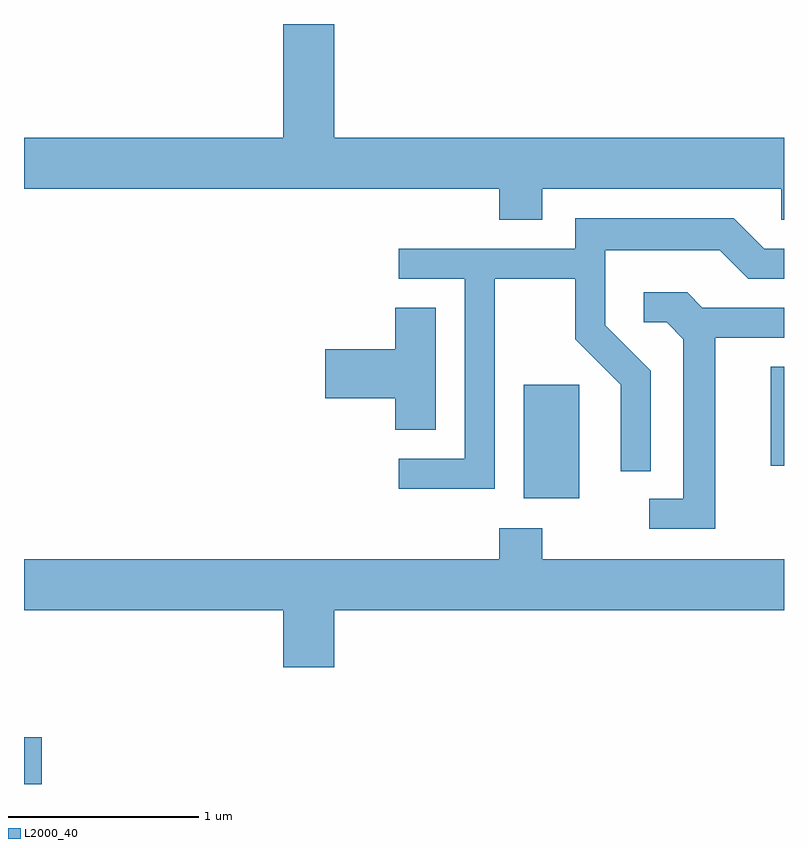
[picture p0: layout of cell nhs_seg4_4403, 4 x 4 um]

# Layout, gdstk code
import gdstk
lib = gdstk.Library(unit=1e-6, precision=1e-09)
def R(c, l, rs):  # rectangles x0, y0, x1, y1
    for r in rs: c.add(gdstk.rectangle(r[:2], r[2:], *l))
def P(c, l, *ps):  # polygons
    for p in ps: c.add(gdstk.Polygon(p, *l))
L2000_40 = (2000, 40)

nhs_seg4_4403 = lib.new_cell('nhs_seg4_4403')
R(nhs_seg4_4403, L2000_40, [(313.611,1355.982,313.704,1356.229), (316.241,1357.486,316.534,1358.084), (317.541,1357.656,317.611,1358.179)])
P(nhs_seg4_4403, L2000_40, [(316.339,1359.116),(317.596,1359.116),(317.596,1358.951),(317.611,1358.951),(317.611,1359.384),(315.244,1359.384),(315.244,1359.982),(314.976,1359.982),(314.976,1359.384),(313.611,1359.384),(313.611,1359.116),(316.111,1359.116),(316.111,1358.951),(316.339,1358.951)],
  [(316.089,1358.641),(316.511,1358.641),(316.511,1358.324),(316.751,1358.084),(316.751,1357.628),(316.909,1357.628),(316.909,1358.157),(316.669,1358.397),(316.669,1358.791),(317.274,1358.791),(317.424,1358.641),(317.611,1358.641),(317.611,1358.799),(317.507,1358.799),(317.347,1358.959),(316.511,1358.959),(316.511,1358.799),(315.583,1358.799),(315.583,1358.641),(315.931,1358.641),(315.931,1357.694),(315.583,1357.694),(315.583,1357.536),(316.089,1357.536)],
  [(317.249,1358.331),(317.611,1358.331),(317.611,1358.489),(317.182,1358.489),(317.102,1358.569),(316.873,1358.569),(316.873,1358.411),(316.994,1358.411),(317.081,1358.324),(317.081,1357.484),(316.903,1357.484),(316.903,1357.326),(317.249,1357.326)],
  [(315.779,1358.489),(315.566,1358.489),(315.566,1358.269),(315.196,1358.269),(315.196,1358.011),(315.566,1358.011),(315.566,1357.846),(315.779,1357.846)],
  [(315.244,1356.896),(317.611,1356.896),(317.611,1357.164),(316.339,1357.164),(316.339,1357.329),(316.111,1357.329),(316.111,1357.164),(313.611,1357.164),(313.611,1356.896),(314.976,1356.896),(314.976,1356.596),(315.244,1356.596)])

lib.write_gds('nhs_seg4_4403.gds')
